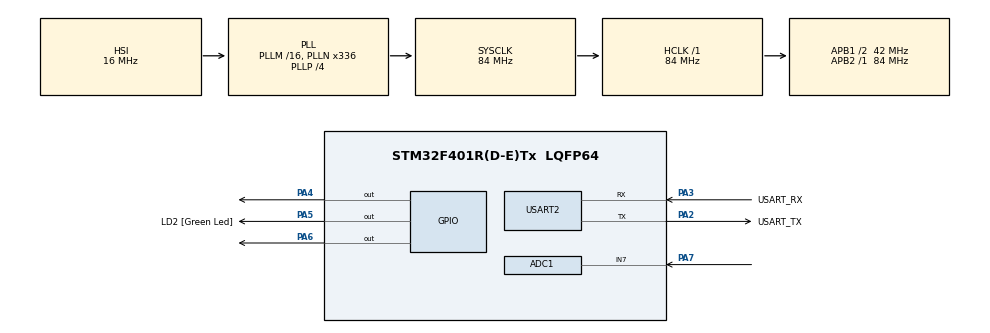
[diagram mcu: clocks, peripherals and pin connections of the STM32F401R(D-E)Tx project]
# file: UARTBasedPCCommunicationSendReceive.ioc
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ADC1.Channel-0\#ChannelRegularConversion=ADC_CHANNEL_7
ADC1.NbrOfConversionFlag=1
ADC1.Rank-0\#ChannelRegularConversion=1
ADC1.SamplingTime-0\#ChannelRegularConversion=ADC_SAMPLETIME_3CYCLES
ADC1.master=1
Mcu.Family=STM32F4
Mcu.Name=STM32F401R(D-E)Tx
Mcu.Package=LQFP64
NVIC.PriorityGroup=NVIC_PRIORITYGROUP_0
NVIC.USART2_IRQn=true\:0\:0\:false\:false\:true\:true\:true\:true
PA13.GPIO_Label=TMS
PA13.Mode=Serial_Wire
PA13.Signal=SYS_JTMS-SWDIO
PA14.GPIO_Label=TCK
PA14.Mode=Serial_Wire
PA14.Signal=SYS_JTCK-SWCLK
PA2.GPIO_Label=USART_TX
PA2.GPIO_Mode=GPIO_MODE_AF_PP
PA2.GPIO_PuPd=GPIO_NOPULL
PA2.GPIO_Speed=GPIO_SPEED_FREQ_LOW
PA2.Mode=Asynchronous
PA2.Signal=USART2_TX
PA3.GPIO_Label=USART_RX
PA3.GPIO_Mode=GPIO_MODE_AF_PP
PA3.GPIO_PuPd=GPIO_NOPULL
PA3.GPIO_Speed=GPIO_SPEED_FREQ_LOW
PA3.Mode=Asynchronous
PA3.Signal=USART2_RX
PA4.Signal=GPIO_Output
PA5.GPIO_Label=LD2 [Green Led]
PA5.GPIO_Mode=GPIO_MODE_OUTPUT_PP
PA5.GPIO_PuPd=GPIO_NOPULL
PA5.GPIO_Speed=GPIO_SPEED_FREQ_LOW
PA5.Signal=GPIO_Output
PA6.Signal=GPIO_Output
PA7.Signal=ADCx_IN7
PH0\ -\ OSC_IN.Mode=HSE-External-Clock-Source
PH0\ -\ OSC_IN.Signal=RCC_OSC_IN
PH1\ -\ OSC_OUT.Mode=HSE-External-Clock-Source
PH1\ -\ OSC_OUT.Signal=RCC_OSC_OUT
ProjectManager.HeapSize=0x200
ProjectManager.StackSize=0x400
ProjectManager.TargetToolchain=CMake
RCC.48MHZClocksFreq_Value=48000000
RCC.AHBFreq_Value=84000000
RCC.APB1CLKDivider=RCC_HCLK_DIV2
RCC.APB1Freq_Value=42000000
RCC.APB1TimFreq_Value=84000000
RCC.APB2Freq_Value=84000000
RCC.APB2TimFreq_Value=84000000
RCC.CortexFreq_Value=84000000
RCC.HCLKFreq_Value=84000000
RCC.HSE_VALUE=8000000
RCC.HSI_VALUE=16000000
RCC.PLLN=336
RCC.PLLP=RCC_PLLP_DIV4
RCC.PLLQ=7
RCC.SYSCLKFreq_VALUE=84000000
RCC.SYSCLKSource=RCC_SYSCLKSOURCE_PLLCLK
RCC.VCOOutputFreq_Value=336000000
SH.ADCx_IN7.0=ADC1_IN7,IN7
USART2.VirtualMode=VM_ASYNC
board=NUCLEO-F401RE

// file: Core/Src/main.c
/* USER CODE BEGIN Header */
/**
  ******************************************************************************
  * @file           : main.c
  * @brief          : Main program body
  ******************************************************************************
  * @attention
  *
  * Copyright (c) 2025 STMicroelectronics.
  * All rights reserved.
  *
  * This software is licensed under terms that can be found in the LICENSE file
  * in the root directory of this software component.
  * If no LICENSE file comes with this software, it is provided AS-IS.
  *
  ******************************************************************************
  */
/* USER CODE END Header */
#include "main.h"

/* USER CODE BEGIN Includes */
#include <stdio.h>
#include <string.h>
/* USER CODE END Includes */

/* USER CODE BEGIN PM */
uint8_t RxData[9];
uint32_t adcValue;
/* USER CODE END PM */

ADC_HandleTypeDef hadc1;

UART_HandleTypeDef huart2;

/* USER CODE BEGIN PV */
uint32_t ReadingSensorValue(){

  HAL_ADC_Start(&hadc1);
  HAL_ADC_PollForConversion(&hadc1,HAL_MAX_DELAY);
  HAL_ADC_Stop(&hadc1);
  return HAL_ADC_GetValue(&hadc1);

}

void LEDHandler(uint16_t _ADCValue){

  if(_ADCValue > 4096 * .66+2 ){ HAL_GPIO_WritePin(GPIOA, GPIO_PIN_5,SET);HAL_GPIO_WritePin(GPIOA,GPIO_PIN_4 ,SET); HAL_GPIO_WritePin(GPIOA,GPIO_PIN_6,RESET); } //Green LED
  if(_ADCValue < 4096 * .66-2 && _ADCValue > 4096 * .33+2 ){ HAL_GPIO_WritePin(GPIOA, GPIO_PIN_5,RESET);HAL_GPIO_WritePin(GPIOA,GPIO_PIN_4 ,SET); HAL_GPIO_WritePin(GPIOA,GPIO_PIN_6,SET); } // yellow LED
  if(_ADCValue < 4096 * .33-2 ){ HAL_GPIO_WritePin(GPIOA, GPIO_PIN_5,SET);HAL_GPIO_WritePin(GPIOA,GPIO_PIN_4 ,RESET); HAL_GPIO_WritePin(GPIOA,GPIO_PIN_6,SET); } // Red LED
}

char msg[20] ={'\0'};
void HAL_UART_RxCpltCallback(UART_HandleTypeDef *huart)
{

  RxData[9]='\0';
  if(strcmp("adcValue",RxData) == 0){
    sprintf(msg, "ADC value is %d.\r\n",adcValue);
  } else{

    sprintf(msg, "Send me correct command.\r\n");
  }
  HAL_UART_Transmit(&huart2,msg,strlen(msg),HAL_MAX_DELAY);
  // sprintf(RxData,"");
  // HAL_GPIO_TogglePin(GPIOA,GPIO_PIN_5);
  UART_Start_Receive_IT(&huart2,RxData,8);

}

/* USER CODE END PV */

void SystemClock_Config(void);
static void MX_GPIO_Init(void);
static void MX_ADC1_Init(void);
static void MX_USART2_UART_Init(void);

int main(void)
{

  /* MCU Configuration--------------------------------------------------------*/

  /* Reset of all peripherals, Initializes the Flash interface and the Systick. */
  HAL_Init();

  /* Configure the system clock */
  SystemClock_Config();

  /* Initialize all configured peripherals */
  MX_GPIO_Init();
  MX_ADC1_Init();
  MX_USART2_UART_Init();
  /* USER CODE BEGIN 2 */
  HAL_UART_Receive_IT(&huart2,RxData,8);
  /* USER CODE END 2 */

  /* Infinite loop */
  /* USER CODE BEGIN WHILE */
  while (1)
  {
    // HAL_UART_Transmit(&huart2,"a\r\n",strlen("a\r\n"),HAL_MAX_DELAY);
    adcValue = ReadingSensorValue();
    LEDHandler(adcValue);

    /* USER CODE END WHILE */

  }
}

void SystemClock_Config(void)
{
  RCC_OscInitTypeDef RCC_OscInitStruct = {0};
  RCC_ClkInitTypeDef RCC_ClkInitStruct = {0};

  /** Configure the main internal regulator output voltage
  */
  __HAL_RCC_PWR_CLK_ENABLE();
  __HAL_PWR_VOLTAGESCALING_CONFIG(PWR_REGULATOR_VOLTAGE_SCALE2);

  /** Initializes the RCC Oscillators according to the specified parameters
  * in the RCC_OscInitTypeDef structure.
  */
  RCC_OscInitStruct.OscillatorType = RCC_OSCILLATORTYPE_HSI;
  RCC_OscInitStruct.HSIState = RCC_HSI_ON;
  RCC_OscInitStruct.HSICalibrationValue = RCC_HSICALIBRATION_DEFAULT;
  RCC_OscInitStruct.PLL.PLLState = RCC_PLL_ON;
  RCC_OscInitStruct.PLL.PLLSource = RCC_PLLSOURCE_HSI;
  RCC_OscInitStruct.PLL.PLLM = 16;
  RCC_OscInitStruct.PLL.PLLN = 336;
  RCC_OscInitStruct.PLL.PLLP = RCC_PLLP_DIV4;
  RCC_OscInitStruct.PLL.PLLQ = 7;
  if (HAL_RCC_OscConfig(&RCC_OscInitStruct) != HAL_OK)
  {
    Error_Handler();
  }

  /** Initializes the CPU, AHB and APB buses clocks
  */
  RCC_ClkInitStruct.ClockType = RCC_CLOCKTYPE_HCLK|RCC_CLOCKTYPE_SYSCLK
                              |RCC_CLOCKTYPE_PCLK1|RCC_CLOCKTYPE_PCLK2;
  RCC_ClkInitStruct.SYSCLKSource = RCC_SYSCLKSOURCE_PLLCLK;
  RCC_ClkInitStruct.AHBCLKDivider = RCC_SYSCLK_DIV1;
  RCC_ClkInitStruct.APB1CLKDivider = RCC_HCLK_DIV2;
  RCC_ClkInitStruct.APB2CLKDivider = RCC_HCLK_DIV1;

  if (HAL_RCC_ClockConfig(&RCC_ClkInitStruct, FLASH_LATENCY_2) != HAL_OK)
  {
    Error_Handler();
  }
}

static void MX_ADC1_Init(void)
{

  ADC_ChannelConfTypeDef sConfig = {0};

  /** Configure the global features of the ADC (Clock, Resolution, Data Alignment and number of conversion)
  */
  hadc1.Instance = ADC1;
  hadc1.Init.ClockPrescaler = ADC_CLOCK_SYNC_PCLK_DIV4;
  hadc1.Init.Resolution = ADC_RESOLUTION_12B;
  hadc1.Init.ScanConvMode = DISABLE;
  hadc1.Init.ContinuousConvMode = DISABLE;
  hadc1.Init.DiscontinuousConvMode = DISABLE;
  hadc1.Init.ExternalTrigConvEdge = ADC_EXTERNALTRIGCONVEDGE_NONE;
  hadc1.Init.ExternalTrigConv = ADC_SOFTWARE_START;
  hadc1.Init.DataAlign = ADC_DATAALIGN_RIGHT;
  hadc1.Init.NbrOfConversion = 1;
  hadc1.Init.DMAContinuousRequests = DISABLE;
  hadc1.Init.EOCSelection = ADC_EOC_SINGLE_CONV;
  if (HAL_ADC_Init(&hadc1) != HAL_OK)
  {
    Error_Handler();
  }

  /** Configure for the selected ADC regular channel its corresponding rank in the sequencer and its sample time.
  */
  sConfig.Channel = ADC_CHANNEL_7;
  sConfig.Rank = 1;
  sConfig.SamplingTime = ADC_SAMPLETIME_3CYCLES;
  if (HAL_ADC_ConfigChannel(&hadc1, &sConfig) != HAL_OK)
  {
    Error_Handler();
  }

}

static void MX_USART2_UART_Init(void)
{

  huart2.Instance = USART2;
  huart2.Init.BaudRate = 115200;
  huart2.Init.WordLength = UART_WORDLENGTH_8B;
  huart2.Init.StopBits = UART_STOPBITS_1;
  huart2.Init.Parity = UART_PARITY_NONE;
  huart2.Init.Mode = UART_MODE_TX_RX;
  huart2.Init.HwFlowCtl = UART_HWCONTROL_NONE;
  huart2.Init.OverSampling = UART_OVERSAMPLING_16;
  if (HAL_UART_Init(&huart2) != HAL_OK)
  {
    Error_Handler();
  }

}

static void MX_GPIO_Init(void)
{
  GPIO_InitTypeDef GPIO_InitStruct = {0};

  /* GPIO Ports Clock Enable */
  __HAL_RCC_GPIOH_CLK_ENABLE();
  __HAL_RCC_GPIOA_CLK_ENABLE();

  /*Configure GPIO pin Output Level */
  HAL_GPIO_WritePin(GPIOA, GPIO_PIN_4|LD2_Pin|GPIO_PIN_6, GPIO_PIN_RESET);

  /*Configure GPIO pins : PA4 LD2_Pin PA6 */
  GPIO_InitStruct.Pin = GPIO_PIN_4|LD2_Pin|GPIO_PIN_6;
  GPIO_InitStruct.Mode = GPIO_MODE_OUTPUT_PP;
  GPIO_InitStruct.Pull = GPIO_NOPULL;
  GPIO_InitStruct.Speed = GPIO_SPEED_FREQ_LOW;
  HAL_GPIO_Init(GPIOA, &GPIO_InitStruct);

}

void Error_Handler(void)
{
  __disable_irq();
  while (1)
  {
  }
}
